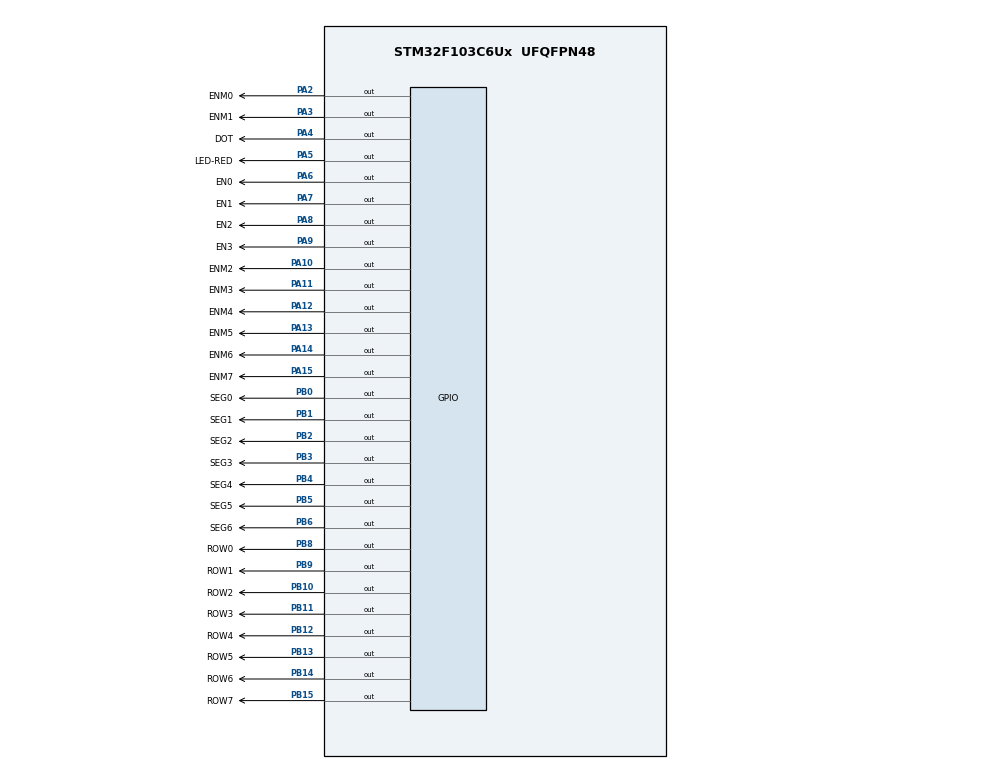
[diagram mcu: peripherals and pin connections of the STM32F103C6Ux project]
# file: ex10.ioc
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Mcu.Family=STM32F1
Mcu.Name=STM32F103C6Ux
Mcu.Package=UFQFPN48
NVIC.PriorityGroup=NVIC_PRIORITYGROUP_4
NVIC.TIM2_IRQn=true\:0\:0\:false\:false\:true\:true\:true
PA10.GPIO_Label=ENM2
PA10.Signal=GPIO_Output
PA11.GPIO_Label=ENM3
PA11.Signal=GPIO_Output
PA12.GPIO_Label=ENM4
PA12.Signal=GPIO_Output
PA13.GPIO_Label=ENM5
PA13.Signal=GPIO_Output
PA14.GPIO_Label=ENM6
PA14.Signal=GPIO_Output
PA15.GPIO_Label=ENM7
PA15.Signal=GPIO_Output
PA2.GPIO_Label=ENM0
PA2.Signal=GPIO_Output
PA3.GPIO_Label=ENM1
PA3.Signal=GPIO_Output
PA4.GPIO_Label=DOT
PA4.Signal=GPIO_Output
PA5.GPIO_Label=LED-RED
PA5.Signal=GPIO_Output
PA6.GPIO_Label=EN0
PA6.Signal=GPIO_Output
PA7.GPIO_Label=EN1
PA7.Signal=GPIO_Output
PA8.GPIO_Label=EN2
PA8.Signal=GPIO_Output
PA9.GPIO_Label=EN3
PA9.Signal=GPIO_Output
PB0.GPIO_Label=SEG0
PB0.Signal=GPIO_Output
PB1.GPIO_Label=SEG1
PB1.Signal=GPIO_Output
PB10.GPIO_Label=ROW2
PB10.Signal=GPIO_Output
PB11.GPIO_Label=ROW3
PB11.Signal=GPIO_Output
PB12.GPIO_Label=ROW4
PB12.Signal=GPIO_Output
PB13.GPIO_Label=ROW5
PB13.Signal=GPIO_Output
PB14.GPIO_Label=ROW6
PB14.Signal=GPIO_Output
PB15.GPIO_Label=ROW7
PB15.Signal=GPIO_Output
PB2.GPIO_Label=SEG2
PB2.Signal=GPIO_Output
PB3.GPIO_Label=SEG3
PB3.Signal=GPIO_Output
PB4.GPIO_Label=SEG4
PB4.Signal=GPIO_Output
PB5.GPIO_Label=SEG5
PB5.Signal=GPIO_Output
PB6.GPIO_Label=SEG6
PB6.Signal=GPIO_Output
PB8.GPIO_Label=ROW0
PB8.Signal=GPIO_Output
PB9.GPIO_Label=ROW1
PB9.Signal=GPIO_Output
ProjectManager.HeapSize=0x200
ProjectManager.StackSize=0x400
ProjectManager.TargetToolchain=STM32CubeIDE
RCC.APB1Freq_Value=8000000
RCC.APB2Freq_Value=8000000
TIM2.Period=9
TIM2.Prescaler=7999
VP_SYS_VS_ND.Mode=No_Debug
VP_TIM2_VS_ClockSourceINT.Mode=Internal
board=custom

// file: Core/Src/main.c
/* USER CODE BEGIN Header */
/**
 ******************************************************************************
 * @file           : main.c
 * @brief          : Main program body
 ******************************************************************************
 * @attention
 *
 * <h2><center>&copy; Copyright (c) 2024 STMicroelectronics.
 * All rights reserved.</center></h2>
 *
 * This software component is licensed by ST under BSD 3-Clause license,
 * the "License"; You may not use this file except in compliance with the
 * License. You may obtain a copy of the License at:
 *                        opensource.org/licenses/BSD-3-Clause
 *
 ******************************************************************************
 */
/* USER CODE END Header */
#include "main.h"

/* USER CODE BEGIN Includes */
#include "software_timer.h"
/* USER CODE END Includes */

TIM_HandleTypeDef htim2;

void SystemClock_Config(void);
static void MX_GPIO_Init(void);
static void MX_TIM2_Init(void);

/* USER CODE BEGIN 0 */
int hour = 15, minute = 8, second = 50;
int index_led = 0;
int led_buffer[4] = { 1, 2, 3, 4 };

void update7SEG(int index) {
	switch (index) {
	case 0:
		// Display the first 7 SEG with led_buffer [0]
		HAL_GPIO_WritePin(GPIOA, GPIO_PIN_6, RESET);
		HAL_GPIO_WritePin(GPIOA, GPIO_PIN_7, SET);
		HAL_GPIO_WritePin(GPIOA, GPIO_PIN_8, SET);
		HAL_GPIO_WritePin(GPIOA, GPIO_PIN_9, SET);
		display7SEG(led_buffer[0]);
		break;
	case 1:
		// Display the second 7 SEG with led_buffer [1]
		HAL_GPIO_WritePin(GPIOA, GPIO_PIN_6, SET);
		HAL_GPIO_WritePin(GPIOA, GPIO_PIN_7, RESET);
		HAL_GPIO_WritePin(GPIOA, GPIO_PIN_8, SET);
		HAL_GPIO_WritePin(GPIOA, GPIO_PIN_9, SET);
		display7SEG(led_buffer[1]);
		break;
	case 2:
		// Display the third 7 SEG with led_buffer [2]
		HAL_GPIO_WritePin(GPIOA, GPIO_PIN_6, SET);
		HAL_GPIO_WritePin(GPIOA, GPIO_PIN_7, SET);
		HAL_GPIO_WritePin(GPIOA, GPIO_PIN_8, RESET);
		HAL_GPIO_WritePin(GPIOA, GPIO_PIN_9, SET);
		display7SEG(led_buffer[2]);
		break;
	case 3:
		// Display the forth 7 SEG with led_buffer [3]
		HAL_GPIO_WritePin(GPIOA, GPIO_PIN_6, SET);
		HAL_GPIO_WritePin(GPIOA, GPIO_PIN_7, SET);
		HAL_GPIO_WritePin(GPIOA, GPIO_PIN_8, SET);
		HAL_GPIO_WritePin(GPIOA, GPIO_PIN_9, RESET);
		display7SEG(led_buffer[3]);
		break;
	default:
		break;
	}
}
void updateClockBuffer() {
	led_buffer[0] = hour / 10;
	led_buffer[1] = hour % 10;
	led_buffer[2] = minute / 10;
	led_buffer[3] = minute % 10;
}
const int MAX_LED_MATRIX = 8;
int index_led_matrix = 0;
uint8_t matrix_buffer[8]={0x00, 0xfc, 0xfe, 0x33, 0x33, 0xfe, 0xfc, 0x00};
void updateLEDMatrix(int index,int leftindex) {
	resetMATRIX();
	HAL_GPIO_WritePin(GPIOB, ROW0_Pin |ROW1_Pin |ROW2_Pin |ROW3_Pin |ROW4_Pin | ROW5_Pin |ROW6_Pin|ROW7_Pin, 1);
	HAL_GPIO_WritePin(GPIOB, matrix_buffer[(index+leftindex)%8] << 8, 0);
	switch (index) {
	case 0:
		HAL_GPIO_WritePin(GPIOA,ENM0_Pin, RESET);
		break;
	case 1:
		HAL_GPIO_WritePin(GPIOA,ENM1_Pin, RESET);
		break;
	case 2:
		HAL_GPIO_WritePin(GPIOA,ENM2_Pin, RESET);
		break;
	case 3:
		HAL_GPIO_WritePin(GPIOA,ENM3_Pin, RESET);
		break;
	case 4:
		HAL_GPIO_WritePin(GPIOA,ENM4_Pin, RESET);
		break;
	case 5:
		HAL_GPIO_WritePin(GPIOA,ENM5_Pin, RESET);
		break;
	case 6:
		HAL_GPIO_WritePin(GPIOA,ENM6_Pin, RESET);
		break;
	case 7:
		HAL_GPIO_WritePin(GPIOA,ENM7_Pin, RESET);
		break;
	default:
		break;
	}
}

/* USER CODE END 0 */

int main(void)
{

  /* MCU Configuration--------------------------------------------------------*/

  /* Reset of all peripherals, Initializes the Flash interface and the Systick. */
  HAL_Init();

  /* Configure the system clock */
  SystemClock_Config();

  /* Initialize all configured peripherals */
  MX_GPIO_Init();
  MX_TIM2_Init();
  /* USER CODE BEGIN 2 */
	HAL_TIM_Base_Start_IT(&htim2);
  /* USER CODE END 2 */

  /* Infinite loop */
  /* USER CODE BEGIN WHILE */
	setTimer1(1);
	setTimer2(1);
	resetMATRIX();
	int DOTstate = 0;
//	HAL_GPIO_WritePin(GPIOA, GPIO_PIN_4, SET);

	int leftindex=0;
	while (1) {
    /* USER CODE END WHILE */

    /* USER CODE BEGIN 3 */
		if (timer1_flag == 1) {
			if(index_led_matrix>=MAX_LED_MATRIX	){
				index_led_matrix=0;
				leftindex++;
			}
			updateLEDMatrix(index_led_matrix++,leftindex%8);
			setTimer1(1);
		}
		if (timer2_flag == 1) {
			if (DOTstate == 0) {
				HAL_GPIO_WritePin(GPIOA, GPIO_PIN_4, SET);
			} else {
				HAL_GPIO_WritePin(GPIOA, GPIO_PIN_4, RESET);
			}
			second++;
			if (second >= 60) {
				second = 0;
				minute++;
			}
			if (minute >= 60) {
				minute = 0;
				hour++;
			}
			if (hour >= 24) {
				hour = 0;
			}
			updateClockBuffer();
			DOTstate = 1 - DOTstate;
			setTimer2(5);
		}

	}
  /* USER CODE END 3 */
}

void SystemClock_Config(void)
{
  RCC_OscInitTypeDef RCC_OscInitStruct = {0};
  RCC_ClkInitTypeDef RCC_ClkInitStruct = {0};

  /** Initializes the RCC Oscillators according to the specified parameters
  * in the RCC_OscInitTypeDef structure.
  */
  RCC_OscInitStruct.OscillatorType = RCC_OSCILLATORTYPE_HSI;
  RCC_OscInitStruct.HSIState = RCC_HSI_ON;
  RCC_OscInitStruct.HSICalibrationValue = RCC_HSICALIBRATION_DEFAULT;
  RCC_OscInitStruct.PLL.PLLState = RCC_PLL_NONE;
  if (HAL_RCC_OscConfig(&RCC_OscInitStruct) != HAL_OK)
  {
    Error_Handler();
  }
  /** Initializes the CPU, AHB and APB buses clocks
  */
  RCC_ClkInitStruct.ClockType = RCC_CLOCKTYPE_HCLK|RCC_CLOCKTYPE_SYSCLK
                              |RCC_CLOCKTYPE_PCLK1|RCC_CLOCKTYPE_PCLK2;
  RCC_ClkInitStruct.SYSCLKSource = RCC_SYSCLKSOURCE_HSI;
  RCC_ClkInitStruct.AHBCLKDivider = RCC_SYSCLK_DIV1;
  RCC_ClkInitStruct.APB1CLKDivider = RCC_HCLK_DIV1;
  RCC_ClkInitStruct.APB2CLKDivider = RCC_HCLK_DIV1;

  if (HAL_RCC_ClockConfig(&RCC_ClkInitStruct, FLASH_LATENCY_0) != HAL_OK)
  {
    Error_Handler();
  }
}

static void MX_TIM2_Init(void)
{

  TIM_ClockConfigTypeDef sClockSourceConfig = {0};
  TIM_MasterConfigTypeDef sMasterConfig = {0};

  htim2.Instance = TIM2;
  htim2.Init.Prescaler = 7999;
  htim2.Init.CounterMode = TIM_COUNTERMODE_UP;
  htim2.Init.Period = 9;
  htim2.Init.ClockDivision = TIM_CLOCKDIVISION_DIV1;
  htim2.Init.AutoReloadPreload = TIM_AUTORELOAD_PRELOAD_DISABLE;
  if (HAL_TIM_Base_Init(&htim2) != HAL_OK)
  {
    Error_Handler();
  }
  sClockSourceConfig.ClockSource = TIM_CLOCKSOURCE_INTERNAL;
  if (HAL_TIM_ConfigClockSource(&htim2, &sClockSourceConfig) != HAL_OK)
  {
    Error_Handler();
  }
  sMasterConfig.MasterOutputTrigger = TIM_TRGO_RESET;
  sMasterConfig.MasterSlaveMode = TIM_MASTERSLAVEMODE_DISABLE;
  if (HAL_TIMEx_MasterConfigSynchronization(&htim2, &sMasterConfig) != HAL_OK)
  {
    Error_Handler();
  }

}

static void MX_GPIO_Init(void)
{
  GPIO_InitTypeDef GPIO_InitStruct = {0};

  /* GPIO Ports Clock Enable */
  __HAL_RCC_GPIOA_CLK_ENABLE();
  __HAL_RCC_GPIOB_CLK_ENABLE();

  /*Configure GPIO pin Output Level */
  HAL_GPIO_WritePin(GPIOA, ENM0_Pin|ENM1_Pin|DOT_Pin|LED_RED_Pin
                          |EN0_Pin|EN1_Pin|EN2_Pin|EN3_Pin
                          |ENM2_Pin|ENM3_Pin|ENM4_Pin|ENM5_Pin
                          |ENM6_Pin|ENM7_Pin, GPIO_PIN_RESET);

  /*Configure GPIO pin Output Level */
  HAL_GPIO_WritePin(GPIOB, SEG0_Pin|SEG1_Pin|SEG2_Pin|ROW2_Pin
                          |ROW3_Pin|ROW4_Pin|ROW5_Pin|ROW6_Pin
                          |ROW7_Pin|SEG3_Pin|SEG4_Pin|SEG5_Pin
                          |SEG6_Pin|ROW0_Pin|ROW1_Pin, GPIO_PIN_RESET);

  /*Configure GPIO pins : ENM0_Pin ENM1_Pin DOT_Pin LED_RED_Pin
                           EN0_Pin EN1_Pin EN2_Pin EN3_Pin
                           ENM2_Pin ENM3_Pin ENM4_Pin ENM5_Pin
                           ENM6_Pin ENM7_Pin */
  GPIO_InitStruct.Pin = ENM0_Pin|ENM1_Pin|DOT_Pin|LED_RED_Pin
                          |EN0_Pin|EN1_Pin|EN2_Pin|EN3_Pin
                          |ENM2_Pin|ENM3_Pin|ENM4_Pin|ENM5_Pin
                          |ENM6_Pin|ENM7_Pin;
  GPIO_InitStruct.Mode = GPIO_MODE_OUTPUT_PP;
  GPIO_InitStruct.Pull = GPIO_NOPULL;
  GPIO_InitStruct.Speed = GPIO_SPEED_FREQ_LOW;
  HAL_GPIO_Init(GPIOA, &GPIO_InitStruct);

  /*Configure GPIO pins : SEG0_Pin SEG1_Pin SEG2_Pin ROW2_Pin
                           ROW3_Pin ROW4_Pin ROW5_Pin ROW6_Pin
                           ROW7_Pin SEG3_Pin SEG4_Pin SEG5_Pin
                           SEG6_Pin ROW0_Pin ROW1_Pin */
  GPIO_InitStruct.Pin = SEG0_Pin|SEG1_Pin|SEG2_Pin|ROW2_Pin
                          |ROW3_Pin|ROW4_Pin|ROW5_Pin|ROW6_Pin
                          |ROW7_Pin|SEG3_Pin|SEG4_Pin|SEG5_Pin
                          |SEG6_Pin|ROW0_Pin|ROW1_Pin;
  GPIO_InitStruct.Mode = GPIO_MODE_OUTPUT_PP;
  GPIO_InitStruct.Pull = GPIO_NOPULL;
  GPIO_InitStruct.Speed = GPIO_SPEED_FREQ_LOW;
  HAL_GPIO_Init(GPIOB, &GPIO_InitStruct);

}

/* USER CODE BEGIN 4 */

void HAL_TIM_PeriodElapsedCallback(TIM_HandleTypeDef *htim) {
	timerRun();
}
/* USER CODE END 4 */

void Error_Handler(void)
{
	__disable_irq();
	while (1) {
	}
}

/************************ (C) COPYRIGHT STMicroelectronics *****END OF FILE****/
